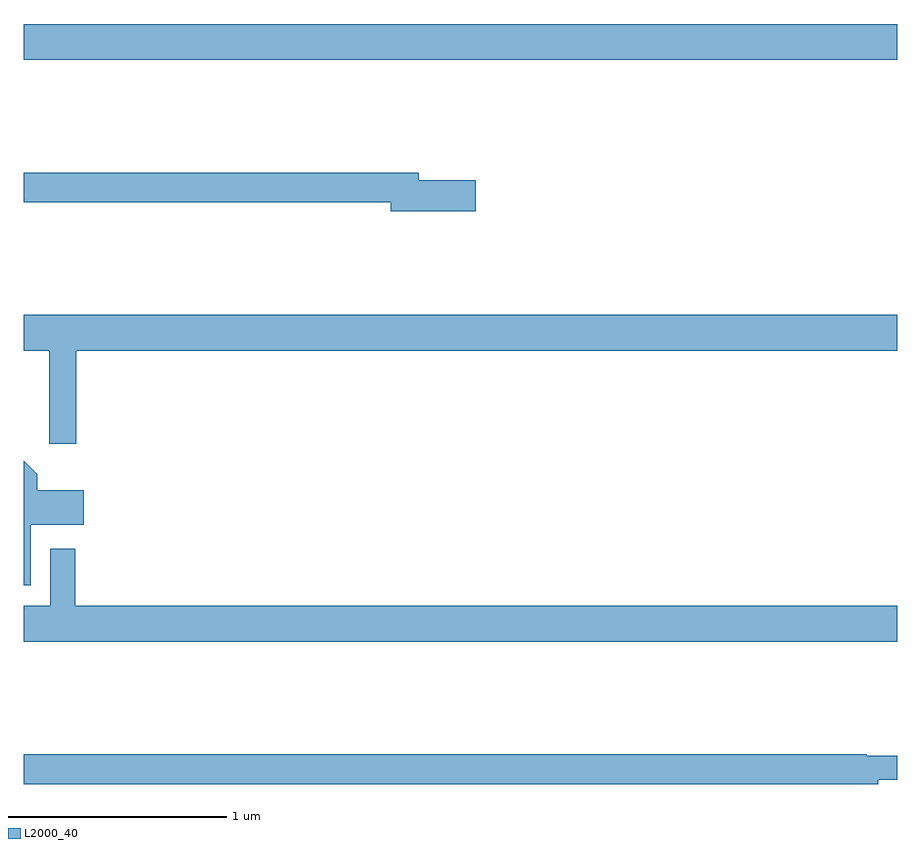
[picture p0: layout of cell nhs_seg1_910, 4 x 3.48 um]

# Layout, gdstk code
import gdstk
lib = gdstk.Library(unit=1e-6, precision=1e-09)
def R(c, l, rs):  # rectangles x0, y0, x1, y1
    for r in rs: c.add(gdstk.rectangle(r[:2], r[2:], *l))
def P(c, l, *ps):  # polygons
    for p in ps: c.add(gdstk.Polygon(p, *l))
L2000_40 = (2000, 40)

nhs_seg1_910 = lib.new_cell('nhs_seg1_910')
R(nhs_seg1_910, L2000_40, [(161,507.776,165,507.94)])
P(nhs_seg1_910, L2000_40, [(163.069,507.224),(162.808,507.224),(162.808,507.26),(161,507.26),(161,507.124),(162.68,507.124),(162.68,507.082),(163.069,507.082)],
  [(161.24,506.444),(165,506.444),(165,506.608),(161,506.608),(161,506.444),(161.117,506.444),(161.117,506.019),(161.24,506.019)],
  [(161.032,505.646),(161.275,505.646),(161.275,505.804),(161.063,505.804),(161.063,505.878),(161,505.941),(161,505.37),(161.032,505.37)],
  [(165,505.276),(161.237,505.276),(161.237,505.537),(161.121,505.537),(161.121,505.276),(161,505.276),(161,505.112),(165,505.112)],
  [(164.912,504.479),(165,504.479),(165,504.589),(164.861,504.589),(164.861,504.596),(161,504.596),(161,504.46),(164.912,504.46)])

lib.write_gds('nhs_seg1_910.gds')
